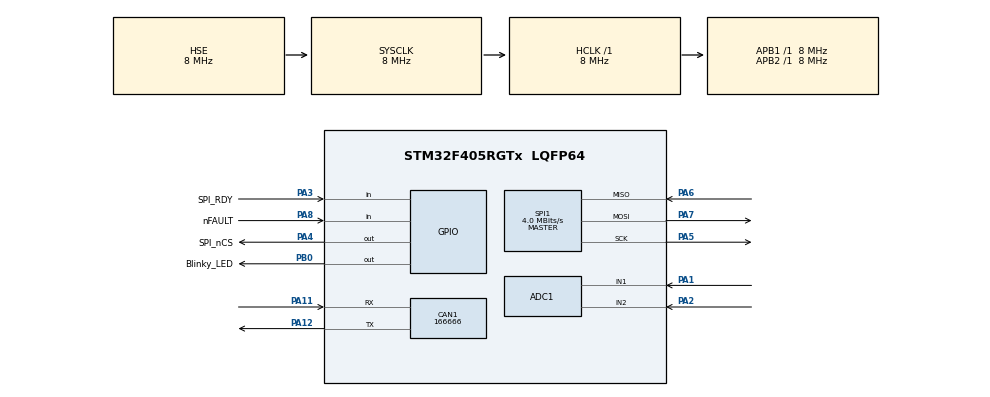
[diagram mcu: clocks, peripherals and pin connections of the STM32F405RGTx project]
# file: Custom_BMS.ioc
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ADC1.Channel-0\#ChannelRegularConversion=ADC_CHANNEL_1
ADC1.NbrOfConversionFlag=1
ADC1.Rank-0\#ChannelRegularConversion=1
ADC1.SamplingTime-0\#ChannelRegularConversion=ADC_SAMPLETIME_3CYCLES
ADC1.master=1
CAN1.CalculateBaudRate=166666
CAN1.CalculateTimeBit=6000
CAN1.CalculateTimeQuantum=2000.0
Dma.Request0=SPI1_RX
Dma.Request1=SPI1_TX
Dma.SPI1_RX.0.Direction=DMA_PERIPH_TO_MEMORY
Dma.SPI1_RX.0.FIFOMode=DMA_FIFOMODE_DISABLE
Dma.SPI1_RX.0.Instance=DMA2_Stream0
Dma.SPI1_RX.0.MemDataAlignment=DMA_MDATAALIGN_BYTE
Dma.SPI1_RX.0.MemInc=DMA_MINC_ENABLE
Dma.SPI1_RX.0.Mode=DMA_NORMAL
Dma.SPI1_RX.0.PeriphDataAlignment=DMA_PDATAALIGN_BYTE
Dma.SPI1_RX.0.PeriphInc=DMA_PINC_DISABLE
Dma.SPI1_RX.0.Priority=DMA_PRIORITY_LOW
Dma.SPI1_TX.1.Direction=DMA_MEMORY_TO_PERIPH
Dma.SPI1_TX.1.FIFOMode=DMA_FIFOMODE_DISABLE
Dma.SPI1_TX.1.Instance=DMA2_Stream3
Dma.SPI1_TX.1.MemDataAlignment=DMA_MDATAALIGN_BYTE
Dma.SPI1_TX.1.MemInc=DMA_MINC_ENABLE
Dma.SPI1_TX.1.Mode=DMA_NORMAL
Dma.SPI1_TX.1.PeriphDataAlignment=DMA_PDATAALIGN_BYTE
Dma.SPI1_TX.1.PeriphInc=DMA_PINC_DISABLE
Dma.SPI1_TX.1.Priority=DMA_PRIORITY_LOW
Mcu.Family=STM32F4
Mcu.Name=STM32F405RGTx
Mcu.Package=LQFP64
NVIC.DMA2_Stream0_IRQn=true\:0\:0\:false\:false\:true\:false\:true\:true
NVIC.DMA2_Stream3_IRQn=true\:0\:0\:false\:false\:true\:false\:true\:true
NVIC.PriorityGroup=NVIC_PRIORITYGROUP_4
NVIC.SPI1_IRQn=true\:0\:0\:false\:false\:true\:true\:true\:true
PA1.Signal=ADCx_IN1
PA11.Mode=CAN_Activate
PA11.Signal=CAN1_RX
PA12.Mode=CAN_Activate
PA12.Signal=CAN1_TX
PA2.Signal=ADCx_IN2
PA3.GPIO_Label=SPI_RDY
PA3.Signal=GPIO_Input
PA4.GPIO_Label=SPI_nCS
PA4.GPIO_ModeDefaultOutputPP=GPIO_MODE_OUTPUT_OD
PA4.GPIO_PuPd=GPIO_NOPULL
PA4.PinState=GPIO_PIN_SET
PA4.Signal=GPIO_Output
PA5.Mode=Full_Duplex_Master
PA5.Signal=SPI1_SCK
PA6.Mode=Full_Duplex_Master
PA6.Signal=SPI1_MISO
PA7.GPIO_Mode=GPIO_MODE_AF_PP
PA7.Mode=Full_Duplex_Master
PA7.Signal=SPI1_MOSI
PA8.GPIO_Label=nFAULT
PA8.Signal=GPIO_Input
PB0.GPIO_Label=Blinky_LED
PB0.Signal=GPIO_Output
PH0-OSC_IN.Mode=HSE-External-Oscillator
PH0-OSC_IN.Signal=RCC_OSC_IN
PH1-OSC_OUT.Mode=HSE-External-Oscillator
PH1-OSC_OUT.Signal=RCC_OSC_OUT
ProjectManager.HeapSize=0x200
ProjectManager.StackSize=0x400
ProjectManager.TargetToolchain=STM32CubeIDE
RCC.48MHZClocksFreq_Value=24000000
RCC.AHBFreq_Value=8000000
RCC.APB1Freq_Value=8000000
RCC.APB1TimFreq_Value=8000000
RCC.APB2Freq_Value=8000000
RCC.APB2TimFreq_Value=8000000
RCC.CortexFreq_Value=8000000
RCC.HCLKFreq_Value=8000000
RCC.HSE_VALUE=8000000
RCC.HSI_VALUE=16000000
RCC.LSE_VALUE=32768
RCC.PLLSourceVirtual=RCC_PLLSOURCE_HSE
RCC.SYSCLKFreq_VALUE=8000000
RCC.SYSCLKSource=RCC_SYSCLKSOURCE_HSE
RCC.VCOOutputFreq_Value=96000000
SH.ADCx_IN1.0=ADC1_IN1,IN1
SH.ADCx_IN2.0=ADC1_IN2,IN2
SPI1.BaudRatePrescaler=SPI_BAUDRATEPRESCALER_2
SPI1.CalculateBaudRate=4.0 MBits/s
SPI1.Direction=SPI_DIRECTION_2LINES
SPI1.Mode=SPI_MODE_MASTER
SPI1.TIMode=SPI_TIMODE_DISABLE
SPI1.VirtualType=VM_MASTER
TIM6.Prescaler=7
VP_TIM6_VS_ClockSourceINT.Mode=Enable_Timer
board=custom

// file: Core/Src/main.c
/* USER CODE BEGIN Header */
/**
  ******************************************************************************
  * @file           : main.c
  * @brief          : Main program body
  ******************************************************************************
  * @attention
  *
  * Copyright (c) 2026 STMicroelectronics.
  * All rights reserved.
  *
  * This software is licensed under terms that can be found in the LICENSE file
  * in the root directory of this software component.
  * If no LICENSE file comes with this software, it is provided AS-IS.
  *
  ******************************************************************************
  */
/* USER CODE END Header */
#include "main.h"

/* USER CODE BEGIN PD */
#define BUFFER_SIZE 100
#define NUM_BOARDS 1
/* USER CODE END PD */

ADC_HandleTypeDef hadc1;

CAN_HandleTypeDef hcan1;

SPI_HandleTypeDef hspi1;
DMA_HandleTypeDef hdma_spi1_rx;
DMA_HandleTypeDef hdma_spi1_tx;

TIM_HandleTypeDef htim6;

void SystemClock_Config(void);
static void MX_GPIO_Init(void);
static void MX_DMA_Init(void);
static void MX_ADC1_Init(void);
static void MX_CAN1_Init(void);
static void MX_SPI1_Init(void);
static void MX_TIM6_Init(void);
/* USER CODE BEGIN PFP */
void Comm_Init();
void Read_Cell_Volts();
uint16_t crc16(uint8_t *data, uint16_t len);
void SPI_frame(uint8_t* frame, uint8_t packet_type, int8_t device_addr, uint16_t reg_addr, uint8_t data[], uint8_t size);
void delay_us(uint32_t us);
/* USER CODE END PFP */

/* USER CODE BEGIN 0 */
uint8_t TX_Data[15] = "Hello World!";
uint8_t RX_Buffer[BUFFER_SIZE] = {0};
uint8_t bytes_received = 0;

// LUT for message type
typedef enum {
    SINGLE_R,
	SINGLE_W,
	STACK_R,
	STACK_W,
	BROADCAST_R,
	BROADCAST_W,
	BROADCASE_W_REVERSE,
} init_id_t;

static const uint16_t packet_init_table[7] = {
    0x80, // SINGLE_R
	0x90, // SINGLE_W
	0xA0, // STACK_R
	0XB0, // STACK_W
	0XC0, // BROADCAST_R
	0XD0, // BROADCAST_W
	0XE0, // BROADCASE_W_REVERSE
};

// LUTs for device id addresses
typedef enum {
	BRIDGE,
	CELL1,
	CELL2,
	CELL3,
	CELL4,
	CELL5,
	CELL6,
	CELL7,
	CELL8,
	CELL9,
	CELL10,
	CELL11,
	CELL12,
	CELL13,
	CELL14,
	CELL15,
	CELL16,
} device_id_t;

static const uint16_t device_addr_table[17] = {
	0x00, // Bridge device
	0x01, // Cell 1
	0x02, // Cell 2
	0x03, // Cell 3
	0x04, // Cell 4
	0x05, // Cell 5
	0x06, // Cell 6
	0x07, // Cell 7
	0x08, // Cell 8
	0x09, // Cell 9
	0x0A, // Cell 10
	0x0B, // Cell 11
	0x0C, // Cell 12
	0x0D, // Cell 13
	0x0E, // Cell 14
	0x0F, // Cell 15
	0x10, // Cell 16
};

// LUTs for register addresses
typedef enum {
	DIR0_ADDR,
	DIR1_ADDR,
	CONTROL1,
	CONTROL2,
	ACTIVE_CELL,
	ADC_CTRL1,
	VCELL16_HI
} reg_id_t;

static const uint16_t reg_addr_table[7] = {
	0X306, // DIR0_ADDR
	0x307, // DIR2_ADDR
	0x309, // CONTROL1
	0x30A, // CONTROL2
	0x0003, // ACTIVE_CELL
	0x030D, // ADC_CTRL1
	0x0568, // VCELL16_HI
};

/* USER CODE END 0 */

int main(void)
{

  /* MCU Configuration--------------------------------------------------------*/

  /* Reset of all peripherals, Initializes the Flash interface and the Systick. */
  HAL_Init();

  /* Configure the system clock */
  SystemClock_Config();

  /* Initialize all configured peripherals */
  MX_GPIO_Init();
  MX_DMA_Init();
  MX_ADC1_Init();
  MX_CAN1_Init();
  MX_SPI1_Init();
  MX_TIM6_Init();
  /* USER CODE BEGIN 2 */
  /* Force PA7 (MOSI) to Open-Drain manually */
  //GPIOA->OTYPER |= GPIO_OTYPER_OT_7;

//  Comm_Init();
  // enable timers

  /* USER CODE END 2 */

  /* Infinite loop */
  /* USER CODE BEGIN WHILE */
  while (1)
  {
//	  HAL_GPIO_TogglePin (GPIOB, GPIO_PIN_0);
//
//	  //if(HAL_GPIO_ReadPin(GPIOA, GPIO_PIN_3)){ // Read SPI_RDY
//		  SPI_frame(TX_Data, packet_init_table[SINGLE_R], device_addr_table[BRIDGE], 0x2100, (uint8_t[]){0x00}, 1); // Read a register
//	  	  //HAL_GPIO_WritePin(GPIOA, GPIO_PIN_4, GPIO_PIN_RESET);
//	  	  HAL_SPI_TransmitReceive(&hspi1, TX_Data, sizeof(TX_Data));
//	  //}
//	  SPI_frame(TX_Data, packet_init_table[SINGLE_R], device_addr_table[BRIDGE], 0x2100, (uint8_t[]){0x00}, 1); // Read a register
//
//	  HAL_GPIO_WritePin(GPIOA, GPIO_PIN_7, GPIO_PIN_SET);
//
//	  // 3. Start Frame
//	  HAL_GPIO_WritePin(GPIOA, GPIO_PIN_4, GPIO_PIN_RESET);
//	  delay_us(10); // Give the BQ a moment to wake up the SPI port
//
//	  // 4. Transmit the command
//	  HAL_SPI_Transmit(&hspi1, TX_Data, 7, 100);
//	  HAL_GPIO_WritePin(GPIOA, GPIO_PIN_4, GPIO_PIN_SET);
//
//
//	  HAL_SPI_Receive(&hspi1, RX_Buffer, 7, 100);
//
//	  HAL_Delay(200);
	  // 1. PHASE ONE: SEND THE COMMAND
	  //HAL_GPIO_WritePin(GPIOA, GPIO_PIN_4, GPIO_PIN_RESET); // nCS Low
	  //HAL_SPI_Transmit(&hspi1, TX_Data, 7, 100);           // Send 7-byte Read Command
	  //HAL_GPIO_WritePin(GPIOA, GPIO_PIN_4, GPIO_PIN_SET);   // nCS HIGH (Crucial!)

	  // 2. THE WAIT: POLL THE HARDWARE PIN
	  // The BQ will pull SPI_RDY low here while it talks to the stack.
	  // You MUST wait for it to go High again.
	  //uint32_t timeout = 10000;
	  //while(HAL_GPIO_ReadPin(GPIOA, GPIO_PIN_3) == GPIO_PIN_RESET && timeout > 0) {
	  //    timeout--; // Wait for BQ to be ready
	  //}

	  // 3. PHASE TWO: GET THE DATA
	  // Response frame for a 1-byte read is 7 bytes: [Header][ID][Addr][Addr][Data][CRC][CRC]
	  //HAL_GPIO_WritePin(GPIOA, GPIO_PIN_4, GPIO_PIN_RESET); // nCS Low again
	  //HAL_SPI_Receive(&hspi1, RX_Buffer, 7, 100);          // Clock out the 7-byte response
	  //HAL_GPIO_WritePin(GPIOA, GPIO_PIN_4, GPIO_PIN_SET);   // nCS High

	  // 4. MOSI IDLE HIGH HANDOVER
	  // Your handover logic is correct, but only do it here, after the whole transaction.
	  //HAL_GPIO_WritePin(GPIOA, GPIO_PIN_7, GPIO_PIN_SET);
	  HAL_Delay(500);
	  uint8_t test_read_data[1] = {0xFF};
	  int bruh = reg_addr_table[DIR0_ADDR];
	  BQ79600_ReadReg(packet_init_table[SINGLE_R], device_addr_table[BRIDGE], reg_addr_table[DIR0_ADDR], test_read_data, 1);

    /* USER CODE END WHILE */

  }
}

void SystemClock_Config(void)
{
  RCC_OscInitTypeDef RCC_OscInitStruct = {0};
  RCC_ClkInitTypeDef RCC_ClkInitStruct = {0};

  /** Configure the main internal regulator output voltage
  */
  __HAL_RCC_PWR_CLK_ENABLE();
  __HAL_PWR_VOLTAGESCALING_CONFIG(PWR_REGULATOR_VOLTAGE_SCALE1);

  /** Initializes the RCC Oscillators according to the specified parameters
  * in the RCC_OscInitTypeDef structure.
  */
  RCC_OscInitStruct.OscillatorType = RCC_OSCILLATORTYPE_HSE;
  RCC_OscInitStruct.HSEState = RCC_HSE_ON;
  RCC_OscInitStruct.PLL.PLLState = RCC_PLL_NONE;
  if (HAL_RCC_OscConfig(&RCC_OscInitStruct) != HAL_OK)
  {
    Error_Handler();
  }

  /** Initializes the CPU, AHB and APB buses clocks
  */
  RCC_ClkInitStruct.ClockType = RCC_CLOCKTYPE_HCLK|RCC_CLOCKTYPE_SYSCLK
                              |RCC_CLOCKTYPE_PCLK1|RCC_CLOCKTYPE_PCLK2;
  RCC_ClkInitStruct.SYSCLKSource = RCC_SYSCLKSOURCE_HSE;
  RCC_ClkInitStruct.AHBCLKDivider = RCC_SYSCLK_DIV1;
  RCC_ClkInitStruct.APB1CLKDivider = RCC_HCLK_DIV1;
  RCC_ClkInitStruct.APB2CLKDivider = RCC_HCLK_DIV1;

  if (HAL_RCC_ClockConfig(&RCC_ClkInitStruct, FLASH_LATENCY_0) != HAL_OK)
  {
    Error_Handler();
  }
}

static void MX_ADC1_Init(void)
{

  ADC_ChannelConfTypeDef sConfig = {0};

  /** Configure the global features of the ADC (Clock, Resolution, Data Alignment and number of conversion)
  */
  hadc1.Instance = ADC1;
  hadc1.Init.ClockPrescaler = ADC_CLOCK_SYNC_PCLK_DIV2;
  hadc1.Init.Resolution = ADC_RESOLUTION_12B;
  hadc1.Init.ScanConvMode = DISABLE;
  hadc1.Init.ContinuousConvMode = DISABLE;
  hadc1.Init.DiscontinuousConvMode = DISABLE;
  hadc1.Init.ExternalTrigConvEdge = ADC_EXTERNALTRIGCONVEDGE_NONE;
  hadc1.Init.ExternalTrigConv = ADC_SOFTWARE_START;
  hadc1.Init.DataAlign = ADC_DATAALIGN_RIGHT;
  hadc1.Init.NbrOfConversion = 1;
  hadc1.Init.DMAContinuousRequests = DISABLE;
  hadc1.Init.EOCSelection = ADC_EOC_SINGLE_CONV;
  if (HAL_ADC_Init(&hadc1) != HAL_OK)
  {
    Error_Handler();
  }

  /** Configure for the selected ADC regular channel its corresponding rank in the sequencer and its sample time.
  */
  sConfig.Channel = ADC_CHANNEL_1;
  sConfig.Rank = 1;
  sConfig.SamplingTime = ADC_SAMPLETIME_3CYCLES;
  if (HAL_ADC_ConfigChannel(&hadc1, &sConfig) != HAL_OK)
  {
    Error_Handler();
  }

}

static void MX_CAN1_Init(void)
{

  hcan1.Instance = CAN1;
  hcan1.Init.Prescaler = 16;
  hcan1.Init.Mode = CAN_MODE_NORMAL;
  hcan1.Init.SyncJumpWidth = CAN_SJW_1TQ;
  hcan1.Init.TimeSeg1 = CAN_BS1_1TQ;
  hcan1.Init.TimeSeg2 = CAN_BS2_1TQ;
  hcan1.Init.TimeTriggeredMode = DISABLE;
  hcan1.Init.AutoBusOff = DISABLE;
  hcan1.Init.AutoWakeUp = DISABLE;
  hcan1.Init.AutoRetransmission = DISABLE;
  hcan1.Init.ReceiveFifoLocked = DISABLE;
  hcan1.Init.TransmitFifoPriority = DISABLE;
  if (HAL_CAN_Init(&hcan1) != HAL_OK)
  {
    Error_Handler();
  }

}

static void MX_SPI1_Init(void)
{

  /* SPI1 parameter configuration*/
  hspi1.Instance = SPI1;
  hspi1.Init.Mode = SPI_MODE_MASTER;
  hspi1.Init.Direction = SPI_DIRECTION_2LINES;
  hspi1.Init.DataSize = SPI_DATASIZE_8BIT;
  hspi1.Init.CLKPolarity = SPI_POLARITY_LOW;
  hspi1.Init.CLKPhase = SPI_PHASE_1EDGE;
  hspi1.Init.NSS = SPI_NSS_SOFT;
  hspi1.Init.BaudRatePrescaler = SPI_BAUDRATEPRESCALER_2;
  hspi1.Init.FirstBit = SPI_FIRSTBIT_MSB;
  hspi1.Init.TIMode = SPI_TIMODE_DISABLE;
  hspi1.Init.CRCCalculation = SPI_CRCCALCULATION_DISABLE;
  hspi1.Init.CRCPolynomial = 10;
  if (HAL_SPI_Init(&hspi1) != HAL_OK)
  {
    Error_Handler();
  }

}

static void MX_TIM6_Init(void)
{

  TIM_MasterConfigTypeDef sMasterConfig = {0};

  htim6.Instance = TIM6;
  htim6.Init.Prescaler = 7;
  htim6.Init.CounterMode = TIM_COUNTERMODE_UP;
  htim6.Init.Period = 65535;
  htim6.Init.AutoReloadPreload = TIM_AUTORELOAD_PRELOAD_DISABLE;
  if (HAL_TIM_Base_Init(&htim6) != HAL_OK)
  {
    Error_Handler();
  }
  sMasterConfig.MasterOutputTrigger = TIM_TRGO_RESET;
  sMasterConfig.MasterSlaveMode = TIM_MASTERSLAVEMODE_DISABLE;
  if (HAL_TIMEx_MasterConfigSynchronization(&htim6, &sMasterConfig) != HAL_OK)
  {
    Error_Handler();
  }

}

static void MX_DMA_Init(void)
{

  /* DMA controller clock enable */
  __HAL_RCC_DMA2_CLK_ENABLE();

  /* DMA interrupt init */
  /* DMA2_Stream0_IRQn interrupt configuration */
  HAL_NVIC_SetPriority(DMA2_Stream0_IRQn, 0, 0);
  HAL_NVIC_EnableIRQ(DMA2_Stream0_IRQn);
  /* DMA2_Stream3_IRQn interrupt configuration */
  HAL_NVIC_SetPriority(DMA2_Stream3_IRQn, 0, 0);
  HAL_NVIC_EnableIRQ(DMA2_Stream3_IRQn);

}

static void MX_GPIO_Init(void)
{
  GPIO_InitTypeDef GPIO_InitStruct = {0};

  /* GPIO Ports Clock Enable */
  __HAL_RCC_GPIOH_CLK_ENABLE();
  __HAL_RCC_GPIOA_CLK_ENABLE();
  __HAL_RCC_GPIOB_CLK_ENABLE();

  /*Configure GPIO pin Output Level */
  HAL_GPIO_WritePin(SPI_nCS_GPIO_Port, SPI_nCS_Pin, GPIO_PIN_SET);

  /*Configure GPIO pin Output Level */
  HAL_GPIO_WritePin(Blinky_LED_GPIO_Port, Blinky_LED_Pin, GPIO_PIN_RESET);

  /*Configure GPIO pins : SPI_RDY_Pin nFAULT_Pin */
  GPIO_InitStruct.Pin = SPI_RDY_Pin|nFAULT_Pin;
  GPIO_InitStruct.Mode = GPIO_MODE_INPUT;
  GPIO_InitStruct.Pull = GPIO_NOPULL;
  HAL_GPIO_Init(GPIOA, &GPIO_InitStruct);

  /*Configure GPIO pin : SPI_nCS_Pin */
  GPIO_InitStruct.Pin = SPI_nCS_Pin;
  GPIO_InitStruct.Mode = GPIO_MODE_OUTPUT_OD;
  GPIO_InitStruct.Pull = GPIO_NOPULL;
  GPIO_InitStruct.Speed = GPIO_SPEED_FREQ_LOW;
  HAL_GPIO_Init(SPI_nCS_GPIO_Port, &GPIO_InitStruct);

  /*Configure GPIO pin : Blinky_LED_Pin */
  GPIO_InitStruct.Pin = Blinky_LED_Pin;
  GPIO_InitStruct.Mode = GPIO_MODE_OUTPUT_PP;
  GPIO_InitStruct.Pull = GPIO_NOPULL;
  GPIO_InitStruct.Speed = GPIO_SPEED_FREQ_LOW;
  HAL_GPIO_Init(Blinky_LED_GPIO_Port, &GPIO_InitStruct);

}

/* USER CODE BEGIN 4 */
void delay_us(uint32_t us) {
//    uint32_t start = TIM2->CNT;
//    uint32_t duration = us * 16;
//    while (TIM2->CNT - start < duration);
	__HAL_TIM_SET_COUNTER(&htim6, 0);
	HAL_TIM_Base_Start(&htim6);
	while (__HAL_TIM_GET_COUNTER(&htim6) < us);
	HAL_TIM_Base_Stop(&htim6);
}

void HAL_SPI_RxCpltCallback(SPI_HandleTypeDef * hspi){
	HAL_SPI_Receive_DMA(&hspi1, RX_Buffer, BUFFER_SIZE);
}

void HAL_SPI_TxCpltCallback(SPI_HandleTypeDef * hspi)
{
	if(hspi->Instance == SPI1) {
		HAL_GPIO_WritePin(GPIOA, GPIO_PIN_4, GPIO_PIN_SET); // Pull CS high only when done
	}
}

uint16_t crc16(uint8_t *data, uint16_t len) {
    uint16_t crc = 0xFFFF; // Standard TI starting value

    for (uint16_t i = 0; i < len; i++) {
        crc ^= (uint16_t)(data[i] << 8); // XOR byte into the MSB of the CRC

        for (uint8_t bit = 0; bit < 8; bit++) {
            if ((crc & 0x8000) != 0) {
                // If the MSB is 1, shift left and XOR with the IBM polynomial
                crc = (crc << 1) ^ 0x8005;
            } else {
                // If the MSB is 0, just shift left
                crc = (crc << 1);
            }
        }
    }

    return crc;
}

// create SPI frame with format:  initialization byte (1) | device id (1) | reg address (2) | data bytes (<=8) | CRC (2)
// set device address to -1 if not used
void SPI_frame(uint8_t* frame, uint8_t packet_type, int8_t device_addr, uint16_t reg_addr, uint8_t data[], uint8_t size){
	if (size == 0 || size > 8)
	    return;

	memset(frame, 0, 15);
	uint8_t total_payload_len = 0;
	frame[0] = packet_type;

	if (device_addr >= 0){
		frame[1] = (uint8_t)device_addr;
		frame[2] = (reg_addr >> 8) & 0xFF;
		frame[3] = reg_addr & 0xFF;
		memcpy(&frame[4], data, size);
		total_payload_len = 4 + size;
	}
	else{
		frame[1] = (reg_addr >> 8) & 0xFF;
		frame[2] = reg_addr & 0xFF;
		memcpy(&frame[3], data, size);
		total_payload_len = 3 + size;
	}

	uint16_t crc = crc16(frame, total_payload_len);
	frame[total_payload_len] = crc & 0xFF;        // Low Byte
	frame[total_payload_len + 1] = (crc >> 8) & 0xFF; // High Byte
}

void BQ79600_WriteReg(uint8_t packet_type, int8_t device_addr, uint16_t reg_addr, uint8_t *data, uint8_t size) {

    SPI_frame(TX_Data, packet_type, device_addr, reg_addr, data, size);

    uint8_t frame_len = (device_addr >= 0) ? (6 + size) : (5 + size);
    HAL_GPIO_WritePin(GPIOA, GPIO_PIN_4, GPIO_PIN_RESET);

    HAL_SPI_Transmit(&hspi1, TX_Data, frame_len, HAL_MAX_DELAY);
    HAL_GPIO_WritePin(GPIOA, GPIO_PIN_4, GPIO_PIN_SET);
}

void BQ79600_ReadReg(uint8_t packet_type, int8_t device_addr, uint16_t reg_addr, uint8_t *rx_data, uint8_t read_size) {
    // data is number of bytes requested - 1
	uint8_t req_data[1] = { read_size - 1 };
	SPI_frame(TX_Data, packet_type, device_addr, reg_addr, req_data, 1);

    // send write frame
    while (HAL_GPIO_ReadPin(GPIOA, GPIO_PIN_3) == 0) {
    	delay_us(1);
    }
    HAL_GPIO_WritePin(GPIOA, GPIO_PIN_4, GPIO_PIN_RESET);
    HAL_SPI_Transmit(&hspi1, TX_Data, sizeof(TX_Data), HAL_MAX_DELAY);
    HAL_GPIO_WritePin(GPIOA, GPIO_PIN_4, GPIO_PIN_SET);
    // delay
    delay_us(5 * NUM_BOARDS);

    // # bits to be read
    uint16_t expected_rx_len = read_size + 6;
    if (packet_type == packet_init_table[STACK_R]) {expected_rx_len = expected_rx_len * NUM_BOARDS;}
    else if (packet_type == packet_init_table[BROADCAST_W]) {expected_rx_len = expected_rx_len * NUM_BOARDS;}

    // if SPI_RDY then loop and read 128 bytes at a time while transmitting FF
    uint8_t dummy_tx[128];
	memset(dummy_tx, 0xFF, sizeof(dummy_tx));

	uint8_t raw_rx_buffer[1024];
	uint8_t *movingPointer = raw_rx_buffer;

    int iter = expected_rx_len / 128;
    int len_last = expected_rx_len % 128;
    while (HAL_GPIO_ReadPin(GPIOA, GPIO_PIN_3) == 0) {
		delay_us(1);
	}

    HAL_GPIO_WritePin(GPIOA, GPIO_PIN_4, GPIO_PIN_RESET);
    while (iter >= 0){
    	if (iter == 0){
    		HAL_SPI_TransmitReceive(&hspi1, dummy_tx, movingPointer, len_last, HAL_MAX_DELAY);
    	}
    	else{
    		HAL_SPI_TransmitReceive(&hspi1, dummy_tx, movingPointer, 128, HAL_MAX_DELAY);
    	}
    	movingPointer += 128;
    	iter--;
    }
    HAL_GPIO_WritePin(GPIOA, GPIO_PIN_4, GPIO_PIN_SET);

    bytes_received = expected_rx_len;
    memcpy(rx_data, &raw_rx_buffer[4], read_size);
}

void Comm_Init(){
  uint8_t payload[1];
  // wake ping: pull nCS line low for 2us, pull MOSI line low for 2.75ms, high for 2us, send 90 00 03 09 20 13 95
  HAL_GPIO_WritePin(GPIOA, GPIO_PIN_4, GPIO_PIN_RESET);
  delay_us(2);
  HAL_GPIO_WritePin(GPIOA, GPIO_PIN_4, GPIO_PIN_SET);
  HAL_GPIO_WritePin(GPIOA, GPIO_PIN_7, GPIO_PIN_RESET);
  HAL_Delay(2);
  delay_us(750);
  HAL_GPIO_WritePin(GPIOA, GPIO_PIN_7, GPIO_PIN_SET);
  delay_us(2);
  HAL_Delay(4);
  payload[0] = 0x20;
  BQ79600_WriteReg(packet_init_table[SINGLE_W], device_addr_table[BRIDGE], reg_addr_table[CONTROL1], payload, 1);
  // then wait ((~1.6 + 10ms) * n stacked devices)
  HAL_Delay(12);

  // set back to alternate function mode
  GPIO_InitTypeDef GPIO_InitStruct = {0};
  GPIO_InitStruct.Pin = GPIO_PIN_7; // MOSI
  GPIO_InitStruct.Mode = GPIO_MODE_AF_PP; // Set back to Alternate Function
  GPIO_InitStruct.Pull = GPIO_NOPULL;
  GPIO_InitStruct.Speed = GPIO_SPEED_FREQ_VERY_HIGH;
  GPIO_InitStruct.Alternate = GPIO_AF5_SPI1; // Check your datasheet, usually AF5 for SPI1
  HAL_GPIO_Init(GPIOA, &GPIO_InitStruct);

  // device address self-assignment: sync delay-locked loop
  payload[0] = 0x00;
  BQ79600_WriteReg(packet_init_table[STACK_W], -1, 0x0343, payload, 1); // OPT_ECC_DATAIN1
  BQ79600_WriteReg(packet_init_table[STACK_W], -1, 0x0344, payload, 1); // OPT_ECC_DATAIN2
  BQ79600_WriteReg(packet_init_table[STACK_W], -1, 0x0345, payload, 1); // OPT_ECC_DATAIN3
  BQ79600_WriteReg(packet_init_table[STACK_W], -1, 0x0346, payload, 1); // OPT_ECC_DATAIN4
  BQ79600_WriteReg(packet_init_table[STACK_W], -1, 0x0347, payload, 1); // OPT_ECC_DATAIN5
  BQ79600_WriteReg(packet_init_table[STACK_W], -1, 0x0348, payload, 1); // OPT_ECC_DATAIN6
  BQ79600_WriteReg(packet_init_table[STACK_W], -1, 0x0349, payload, 1); // OPT_ECC_DATAIN7
  BQ79600_WriteReg(packet_init_table[STACK_W], -1, 0x034A, payload, 1); // OPT_ECC_DATAIN8

  payload[0] = 0x01;
  BQ79600_WriteReg(packet_init_table[BROADCAST_W], -1, reg_addr_table[CONTROL1], payload, 1);  // enable auto addressing

  payload[0] = 0x00;
  BQ79600_WriteReg(packet_init_table[BROADCAST_W], -1, reg_addr_table[DIR0_ADDR], payload, 1); // set bridge device to address 0

  payload[0] = 0x01;
  BQ79600_WriteReg(packet_init_table[BROADCAST_W], -1, reg_addr_table[DIR0_ADDR], payload, 1); // set first stack device to address 1
}

void Start_Cell_Volts(){
  SPI_frame(TX_Data, packet_init_table[BROADCAST_W], -1, reg_addr_table[ACTIVE_CELL], (uint8_t[]){0x0A}, 1);  // set active cells - B0 00 03 0A A6 13
  HAL_SPI_Transmit_DMA(&hspi1, TX_Data, sizeof(TX_Data));
  SPI_frame(TX_Data, &hspi1, -1, reg_addr_table[ADC_CTRL1], (uint8_t[]){0x06}, 1);  // start continuous run ADC
  HAL_SPI_Transmit_DMA(&hspi1, TX_Data, sizeof(TX_Data));
  delay_us(250); // 92us + (5us x TOTALBOARDS)
  SPI_frame(TX_Data, packet_init_table[STACK_R], -1, reg_addr_table[VCELL16_HI], (uint8_t[]){0x1F}, 1);  // start continuous run ADC
  HAL_SPI_Transmit_DMA(&hspi1, TX_Data, sizeof(TX_Data));
}

/* USER CODE END 4 */

void Error_Handler(void)
{
  __disable_irq();
  while (1)
  {
  }
}
